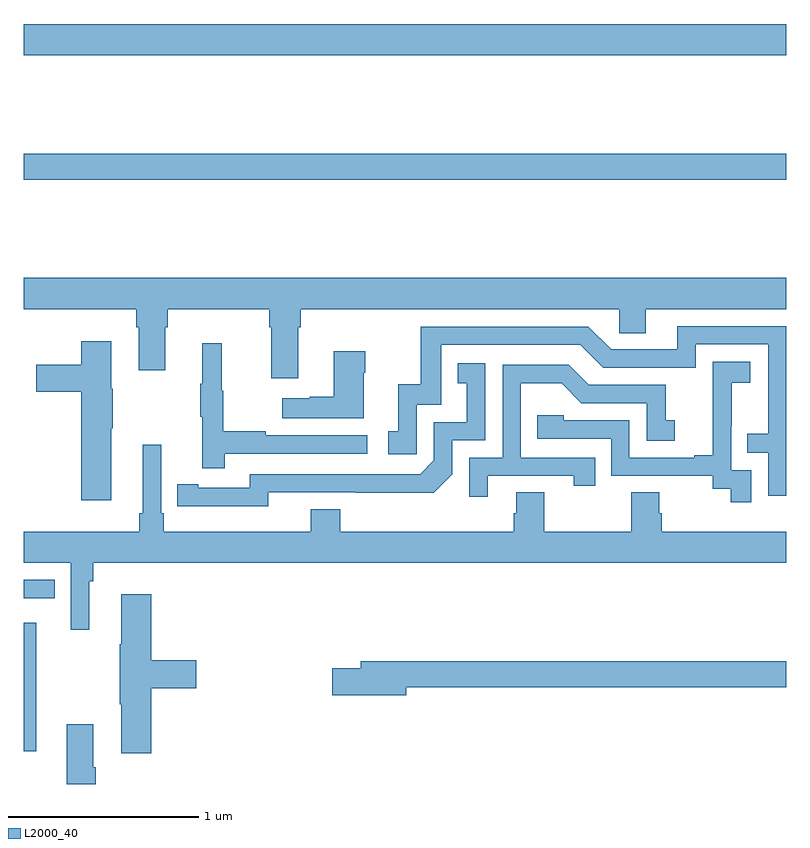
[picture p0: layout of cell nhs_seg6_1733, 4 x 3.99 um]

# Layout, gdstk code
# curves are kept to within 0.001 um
import gdstk
lib = gdstk.Library(unit=1e-6, precision=1e-09)
def R(c, l, rs):  # rectangles x0, y0, x1, y1
    for r in rs: c.add(gdstk.rectangle(r[:2], r[2:], *l))
def P(c, l, *ps):  # polygons
    for p in ps: c.add(gdstk.Polygon(p, *l))
L2000_40 = (2000, 40)

nhs_seg6_1733 = lib.new_cell('nhs_seg6_1733')
R(nhs_seg6_1733, L2000_40, [(215,955.671,215.065,956.347), (215,956.475,215.162,956.571), (215,958.672,219,958.808), (215,959.324,219,959.488)])
P(nhs_seg6_1733, L2000_40, [(216.439,957.896),(216.452,957.896),(216.452,957.992),(218.124,957.992),(218.124,957.865),(218.263,957.865),(218.263,957.992),(219,957.992),(219,958.156),(215,958.156),(215,957.992),(215.591,957.992),(215.591,957.896),(215.603,957.896),(215.603,957.672),(215.743,957.672),(215.743,957.896),(215.756,957.896),(215.756,957.992),(216.287,957.992),(216.287,957.896),(216.299,957.896),(216.299,957.63),(216.439,957.63)],
  [(219,957.903),(218.429,957.903),(218.429,957.78),(218.082,957.78),(217.962,957.9),(217.083,957.9),(217.083,957.598),(216.965,957.598),(216.965,957.351),(216.912,957.351),(216.912,957.231),(217.062,957.231),(217.062,957.489),(217.191,957.489),(217.191,957.804),(217.92,957.804),(218.04,957.684),(218.526,957.684),(218.526,957.807),(218.907,957.807),(218.907,957.338),(218.797,957.338),(218.797,957.237),(218.907,957.237),(218.907,957.012),(219,957.012)],
  [(215.458,957.367),(215.466,957.367),(215.466,957.573),(215.458,957.573),(215.458,957.823),(215.3,957.823),(215.3,957.699),(215.064,957.699),(215.064,957.557),(215.3,957.557),(215.3,956.988),(215.458,956.988)],
  [(216.053,957.234),(216.802,957.234),(216.802,957.33),(216.269,957.33),(216.269,957.35),(216.046,957.35),(216.046,957.564),(216.038,957.564),(216.038,957.814),(215.936,957.814),(215.936,957.601),(215.925,957.601),(215.925,957.427),(215.936,957.427),(215.936,957.156),(216.053,957.156)],
  [(216.784,957.659),(216.792,957.659),(216.792,957.772),(216.626,957.772),(216.626,957.533),(216.5,957.533),(216.5,957.523),(216.357,957.523),(216.357,957.419),(216.784,957.419)],
  [(218.817,957.147),(218.712,957.147),(218.712,957.377),(218.714,957.377),(218.714,957.605),(218.812,957.605),(218.812,957.715),(218.614,957.715),(218.614,957.509),(218.615,957.509),(218.615,957.226),(218.519,957.226),(218.519,957.213),(218.178,957.213),(218.178,957.408),(217.833,957.408),(217.833,957.435),(217.693,957.435),(217.693,957.312),(218.082,957.312),(218.082,957.117),(218.616,957.117),(218.616,957.049),(218.709,957.049),(218.709,956.979),(218.817,956.979)],
  [(216.282,957.03),(217.15,957.029),(217.248,957.126),(217.248,957.303),(217.422,957.303),(217.422,957.709),(217.276,957.709),(217.276,957.603),(217.325,957.603),(217.325,957.399),(217.152,957.399),(217.152,957.198),(217.08,957.126),(216.186,957.126),(216.186,957.054),(215.914,957.054),(215.914,957.074),(215.806,957.074),(215.806,956.958),(216.282,956.957)],
  [(217.435,957.117),(217.886,957.117),(217.886,957.066),(217.997,957.066),(217.997,957.213),(217.608,957.213),(217.608,957.602),(217.822,957.602),(217.926,957.498),(218.268,957.498),(218.268,957.3),(218.416,957.3),(218.416,957.409),(218.367,957.409),(218.367,957.594),(217.963,957.594),(217.858,957.699),(217.512,957.699),(217.512,957.213),(217.338,957.213),(217.338,957.006),(217.435,957.006)],
  [(215.344,956.564),(215.363,956.564),(215.363,956.66),(219,956.66),(219,956.824),(218.348,956.824),(218.348,956.922),(218.335,956.922),(218.335,957.032),(218.188,957.032),(218.188,956.824),(217.731,956.824),(217.731,957.032),(217.583,957.032),(217.583,956.922),(217.571,956.922),(217.571,956.824),(216.659,956.824),(216.659,956.941),(216.506,956.941),(216.506,956.824),(215.735,956.824),(215.735,956.92),(215.721,956.92),(215.721,957.28),(215.624,957.28),(215.624,956.92),(215.605,956.92),(215.605,956.824),(215,956.824),(215,956.66),(215.247,956.66),(215.247,956.31),(215.344,956.31)],
  [(215.669,956.003),(215.905,956.003),(215.905,956.15),(215.669,956.15),(215.669,956.497),(215.51,956.497),(215.51,956.233),(215.503,956.233),(215.503,955.919),(215.51,955.919),(215.51,955.662),(215.669,955.662)],
  [(217.006,956.008),(219,956.008),(219,956.144),(216.767,956.144),(216.767,956.108),(216.618,956.108),(216.618,955.966),(217.006,955.966)],
  [(215.378,955.588),(215.365,955.588),(215.365,955.813),(215.225,955.813),(215.225,955.5),(215.378,955.5)])

lib.write_gds('nhs_seg6_1733.gds')
